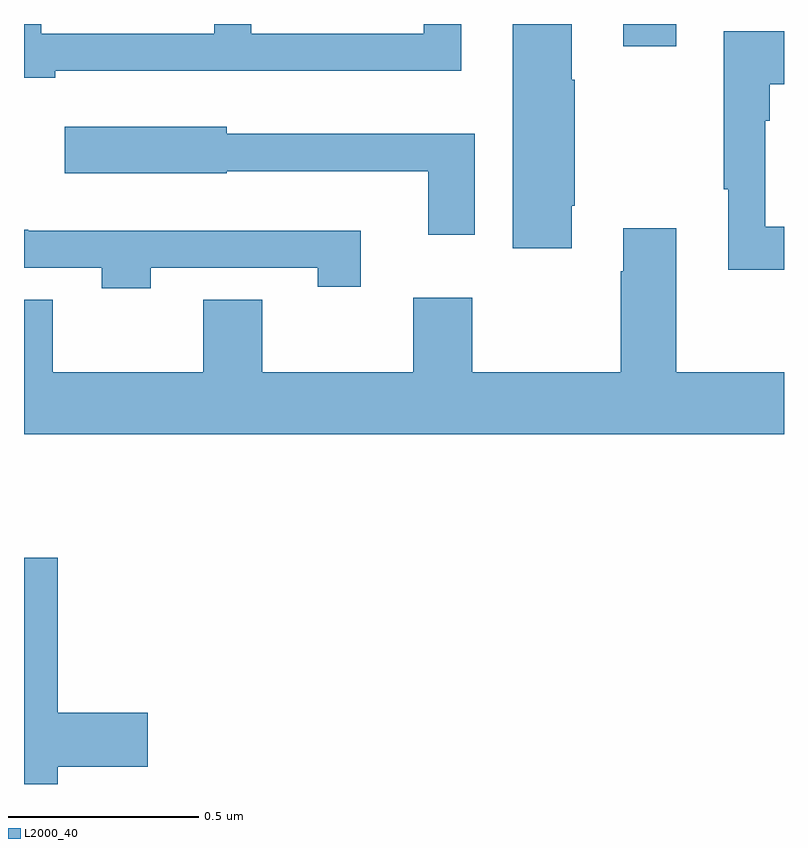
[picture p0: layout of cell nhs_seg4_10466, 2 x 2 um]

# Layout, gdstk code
import gdstk
lib = gdstk.Library(unit=1e-6, precision=1e-09)
def R(c, l, rs):  # rectangles x0, y0, x1, y1
    for r in rs: c.add(gdstk.rectangle(r[:2], r[2:], *l))
def P(c, l, *ps):  # polygons
    for p in ps: c.add(gdstk.Polygon(p, *l))
L2000_40 = (2000, 40)

nhs_seg4_10466 = lib.new_cell('nhs_seg4_10466')
R(nhs_seg4_10466, L2000_40, [(241.577,797.841,241.717,797.9)])
P(nhs_seg4_10466, L2000_40, [(240.082,797.777),(241.15,797.777),(241.15,797.9),(241.052,797.9),(241.052,797.874),(240.598,797.874),(240.598,797.9),(240.5,797.9),(240.5,797.874),(240.046,797.874),(240.046,797.9),(240,797.9),(240,797.759),(240.082,797.759)],
  [(241.441,797.422),(241.449,797.422),(241.449,797.753),(241.441,797.753),(241.441,797.9),(241.286,797.9),(241.286,797.31),(241.441,797.31)],
  [(242,797.366),(241.95,797.366),(241.95,797.645),(241.963,797.645),(241.963,797.741),(242,797.741),(242,797.881),(241.842,797.881),(241.842,797.465),(241.853,797.465),(241.853,797.253),(242,797.253)],
  [(241.186,797.611),(240.534,797.611),(240.534,797.629),(240.107,797.629),(240.107,797.507),(240.534,797.507),(240.534,797.513),(241.064,797.513),(241.064,797.346),(241.186,797.346)],
  [(242,796.984),(241.717,796.984),(241.717,797.362),(241.577,797.362),(241.577,797.249),(241.57,797.249),(241.57,796.984),(241.179,796.984),(241.179,797.179),(241.024,797.179),(241.024,796.984),(240.627,796.984),(240.627,797.174),(240.472,797.174),(240.472,796.984),(240.075,796.984),(240.075,797.174),(240,797.174),(240,796.82),(242,796.82)],
  [(240.334,797.259),(240.773,797.259),(240.773,797.208),(240.886,797.208),(240.886,797.356),(240.011,797.356),(240.011,797.358),(240,797.358),(240,797.259),(240.205,797.259),(240.205,797.204),(240.334,797.204)],
  [(240.089,795.946),(240.325,795.946),(240.325,796.088),(240.089,796.088),(240.089,796.495),(240,796.495),(240,795.9),(240.089,795.9)])

lib.write_gds('nhs_seg4_10466.gds')
